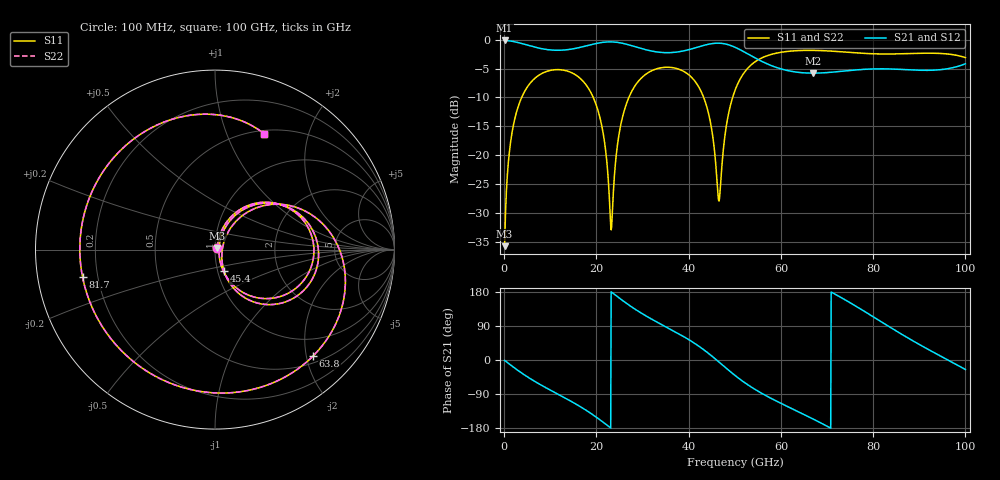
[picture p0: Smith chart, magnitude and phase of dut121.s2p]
! Touchstone file exported from HFSS 2026.1.0
!  File:  C:/ffzhzh/LocalFiles/Ansys_Project_Files/temp_train_TSV_RDL_121_1783458889_34316.aedt
!  Generated:  05:23:09 AM Jul  8, 2026
!  Design:  TSV_RDL
!  Project:  temp_train_TSV_RDL_121_1783458889_34316
! Variables:
!  h_bsmrdl = 4.24um
!  h_ox = 20um
!  h_rdl = 5um
!  h_sub = 65.1um
!  h_tmrdl = 4.79um
!  h_tsv = 65.1um
!  h_via = 3um
!  l_bsmrdl = 453.29um
!  l_sub = 2568.18um
!  l_tmrdl = 175.67um
!  m_sub = 200um
!  pitch = 50.16um
!  r_tsv = 12.8um
!  s_tmrdl = 10um
!  w_bsmrdl = 11.78um
!  w_sub = 500um
!  w_tmrdl = 23.43um
!  x_tsv_center1 = 187.385um
!  x_tsv_center2 = 652.455um
!  x_tsv_center3 = 851.555um
!  x_tsv_center4 = 1316.625um
!  x_tsv_center5 = 1515.725um
!  x_tsv_center6 = 1980.795um
# GHz S MA R 50.000000
! Terminal data exported
! Port[1] = TM_RDL1_1_T1
! Port[2] = TM_RDL5_1_T1
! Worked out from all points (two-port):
!   1000 points, 100 MHz to 100 GHz, reference 50 ohm
!   highest |S21| = -0.11 dB at 100 MHz (marker M1); lowest = -5.8 dB at 67 GHz (marker M2)
!   |S21| within 3 dB of the highest: start of sweep to 54.34 GHz
!   lowest |S11| = -35.8 dB at 100 MHz (marker M3), VSWR 1.03, Z = 51.3 + j0.994 ohm
!   |S11| at or under -10 dB: start of sweep to 3.796 GHz; 19.32 GHz to 27.04 GHz (7.714 GHz wide, 33.3 % of centre); 43.26 GHz to 49.53 GHz (6.271 GHz wide, 13.5 % of centre)
!   |S22| runs from -35.8 to -1.8 dB; largest |S21 - S12| = 1.7e-14
!   S11 on the Smith chart (normalised r, x): 100 MHz: 1.03, +0.02; 45.4 GHz: 1.07, -0.26; 63.8 GHz: 0.63, -2.13; 81.7 GHz: 0.14, -0.10; 100 GHz: 0.54, +1.37
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0.1  0.01625 36.6  0.9871 -1.0  0.9871 -1.0  0.01625 36.6
! Gamma 0 0 0 0
! Port Impedance 50 0 50 0
1.5  0.1386 69.2  0.9743 -14.1  0.9743 -14.1  0.1386 69.2
4.3  0.3483 48.1  0.917 -38.5  0.917 -38.5  0.3483 48.1
10.7  0.5488 4.3  0.8132 -84.0  0.8132 -84.0  0.5487 4.3
16.8  0.4507 -35.2  0.866 -125.3  0.866 -125.3  0.4507 -35.2
20.9  0.2011 -64.6  0.9443 -159.0  0.9443 -159.0  0.2011 -64.5
23.2  0.02249 -4.4  0.9593 179.8  0.9593 179.8  0.02274 -4.3
26.4  0.2708 55.0  0.9182 150.6  0.9182 150.6  0.2709 55.0
33.4  0.5655 6.8  0.7821 98.3  0.7821 98.3  0.5655 6.8
41.5  0.4302 -45.5  0.8533 42.3  0.8533 42.3  0.4303 -45.4
45.4  0.1289 -67.3  0.9306 6.7  0.9306 6.7  0.1291 -67.0
46.7  0.04249 12.0  0.9344 -6.6  0.9344 -6.6  0.04316 11.7
50.1  0.3685 41.9  0.8601 -41.2  0.8601 -41.2  0.3686 41.7
56.5  0.7149 -4.8  0.6321 -92.4  0.6321 -92.4  0.7151 -4.9
63.8  0.8064 -47.4  0.5222 -136.7  0.5222 -136.7  0.8065 -47.6
66.7  0.8097 -64.2  0.5142 -154.0  0.5142 -154.0  0.8098 -64.4
67  0.8094 -66.0  0.5141 -155.8  0.5141 -155.8  0.8095 -66.2
74  0.7827 -111.2  0.5374 158.3  0.5374 158.3  0.7828 -111.5
81.7  0.7536 -168.2  0.5604 101.3  0.5604 101.3  0.7537 -168.5
83.4  0.7532 178.9  0.5592 88.5  0.5592 88.5  0.7533 178.6
92.2  0.7655 116.4  0.544 26.2  0.544 26.2  0.7657 116.3
100  0.7003 66.9  0.6195 -25.0  0.6195 -25.0  0.7006 66.9
